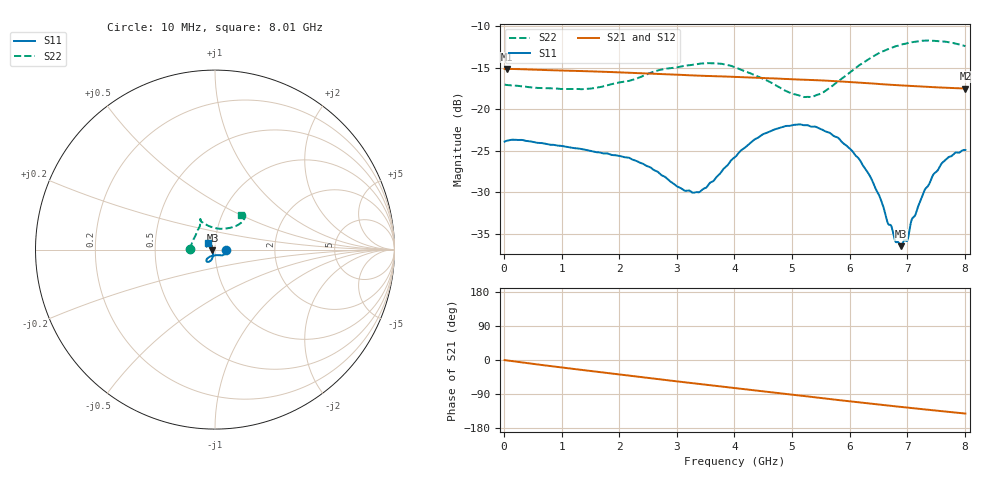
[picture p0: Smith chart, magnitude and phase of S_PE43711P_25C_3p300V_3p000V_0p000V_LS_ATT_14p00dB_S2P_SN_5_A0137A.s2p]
! Device ID: PE43711P
! File Path: z:\PE43711P\CHAR_NOM_04282014\AMB\3p300\LS_ATT_14p00dB\PE43711P_AMB_3p300V_3p000V_0p000V_LS_ATT_14p00dB_S2P_SN_5_A0137A.s2p
! Serial: 5
! Lot: A0137A
! Temp: 25C
! VDD: 3.300
! VSS: 0.000
! Control_Hi: 3.000
! Control_Lo: 0.000
! Attenuation Step: 14.00dB
! Port 1: RF1
! Port 2: RF2
! ThroughPath:1-2
! IDD: 0.0001279546
! ISS: -8.22e-008
#  Hz  S  RI  R  50
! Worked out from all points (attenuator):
!   801 points, 10 MHz to 8.01 GHz, reference 50 ohm
!   highest |S21| = -15.14 dB at 50 MHz (marker M1); lowest = -17.5 dB at 8.01 GHz (marker M2)
!   lowest |S11| = -36.5 dB at 6.89 GHz (marker M3), VSWR 1.03, Z = 48.6 - j0.38 ohm
!   |S11| at or under -10 dB: start of sweep to end of sweep
!   |S22| runs from -18.5 to -11.7 dB; largest |S21 - S12| = 0.00049
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1e7  0.064 7.64e-05  0.175 -0.000842  0.1752 -0.000833  -0.1407 0.00103
5e7  0.0647 -0.0007  0.175 -0.00331  0.1751 -0.0033  -0.14 0.00342
1.35e9  0.0504 -0.028  0.1523 -0.0751  0.1524 -0.0751  -0.1148 0.0653
2.16e9  0.0394 -0.0328  0.1246 -0.1095  0.1247 -0.1095  -0.0913 0.1165
2.68e9  0.028 -0.0311  0.1034 -0.1259  0.1034 -0.126  -0.083 0.1504
3.12e9  0.0115 -0.0306  0.084 -0.1371  0.0841 -0.1372  -0.0805 0.1634
3.37e9  0.000316 -0.0317  0.0727 -0.1418  0.0728 -0.1419  -0.0804 0.1692
4.01e9  -0.0316 -0.0409  0.0429 -0.1507  0.0428 -0.1508  -0.0802 0.1602
4.68e9  -0.0475 -0.0584  0.0109 -0.1529  0.0109 -0.1529  -0.0427 0.1353
5.35e9  -0.0393 -0.068  -0.0198 -0.1486  -0.0198 -0.1488  0.0263 0.1159
5.79e9  -0.0253 -0.0628  -0.0391 -0.1421  -0.0392 -0.1421  0.0821 0.121
6.16e9  -0.0156 -0.048  -0.0538 -0.1344  -0.054 -0.1344  0.1237 0.135
6.38e9  -0.012 -0.0361  -0.0618 -0.1292  -0.0619 -0.1293  0.1431 0.1469
6.68e9  -0.0122 -0.0162  -0.0713 -0.1214  -0.0713 -0.1215  0.1601 0.1669
6.8e9  -0.013 -0.00926  -0.0749 -0.1182  -0.0749 -0.1182  0.1643 0.1742
6.89e9  -0.0145 -0.00391  -0.0774 -0.1157  -0.0774 -0.1158  0.167 0.1789
7e9  -0.016 0.00275  -0.0805 -0.1128  -0.0805 -0.1129  0.1687 0.1843
7.08e9  -0.0201 0.00832  -0.0828 -0.1105  -0.0828 -0.1106  0.1684 0.1888
7.27e9  -0.0244 0.0186  -0.0878 -0.1052  -0.0878 -0.1053  0.1673 0.1971
7.46e9  -0.0304 0.0272  -0.0924 -0.0996  -0.0924 -0.0997  0.1614 0.2018
7.7e9  -0.0371 0.035  -0.0977 -0.0926  -0.0977 -0.0925  0.1524 0.203
8.01e9  -0.0411 0.0393  -0.1041 -0.0834  -0.1044 -0.083  0.1437 0.1918
